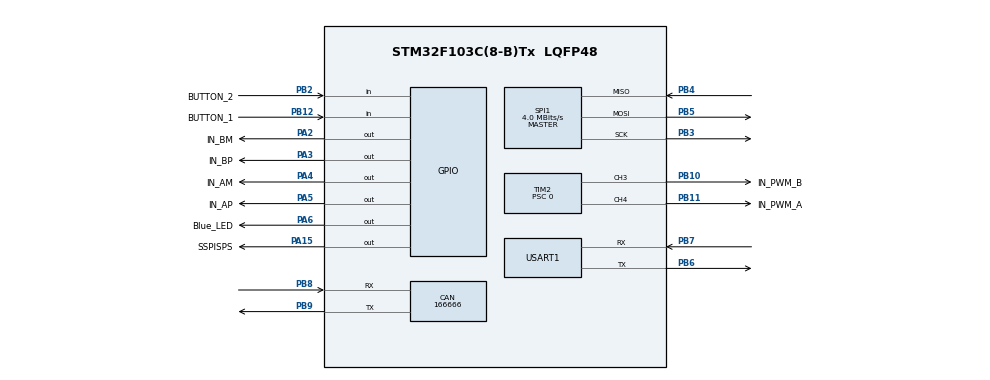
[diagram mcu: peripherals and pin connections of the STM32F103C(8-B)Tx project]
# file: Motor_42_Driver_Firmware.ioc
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CAN.CalculateBaudRate=166666
CAN.CalculateTimeBit=6000
CAN.CalculateTimeQuantum=2000.0
Mcu.Family=STM32F1
Mcu.Name=STM32F103C(8-B)Tx
Mcu.Package=LQFP48
NVIC.PriorityGroup=NVIC_PRIORITYGROUP_4
PA13.Mode=Serial_Wire
PA13.Signal=SYS_JTMS-SWDIO
PA14.Mode=Serial_Wire
PA14.Signal=SYS_JTCK-SWCLK
PA15.GPIO_Label=SSPISPS
PA15.Signal=GPIO_Output
PA2.GPIO_Label=IN_BM
PA2.GPIO_Speed=GPIO_SPEED_FREQ_HIGH
PA2.PinState=GPIO_PIN_SET
PA2.Signal=GPIO_Output
PA3.GPIO_Label=IN_BP
PA3.GPIO_Speed=GPIO_SPEED_FREQ_HIGH
PA3.PinState=GPIO_PIN_SET
PA3.Signal=GPIO_Output
PA4.GPIO_Label=IN_AM
PA4.GPIO_Speed=GPIO_SPEED_FREQ_HIGH
PA4.PinState=GPIO_PIN_SET
PA4.Signal=GPIO_Output
PA5.GPIO_Label=IN_AP
PA5.GPIO_Speed=GPIO_SPEED_FREQ_HIGH
PA5.PinState=GPIO_PIN_SET
PA5.Signal=GPIO_Output
PA6.GPIO_Label=Blue_LED
PA6.Signal=GPIO_Output
PB10.GPIO_Label=IN_PWM_B
PB10.GPIO_Speed=GPIO_SPEED_FREQ_HIGH
PB10.Signal=S_TIM2_CH3
PB11.GPIO_Label=IN_PWM_A
PB11.GPIO_Speed=GPIO_SPEED_FREQ_HIGH
PB11.Signal=S_TIM2_CH4
PB12.GPIO_Label=BUTTON_1
PB12.Signal=GPIO_Input
PB2.GPIO_Label=BUTTON_2
PB2.Signal=GPIO_Input
PB3.Mode=Full_Duplex_Master
PB3.Signal=SPI1_SCK
PB4.Mode=Full_Duplex_Master
PB4.Signal=SPI1_MISO
PB5.Mode=Full_Duplex_Master
PB5.Signal=SPI1_MOSI
PB6.Mode=Asynchronous
PB6.Signal=USART1_TX
PB7.Mode=Asynchronous
PB7.Signal=USART1_RX
PB8.Mode=CAN_Activate
PB8.Signal=CAN_RX
PB9.Mode=CAN_Activate
PB9.Signal=CAN_TX
ProjectManager.HeapSize=0x200
ProjectManager.StackSize=0x400
ProjectManager.TargetToolchain=STM32CubeIDE
RCC.APB1Freq_Value=8000000
RCC.APB2Freq_Value=8000000
SH.S_TIM2_CH3.0=TIM2_CH3,PWM Generation3 CH3
SH.S_TIM2_CH4.0=TIM2_CH4,PWM Generation4 CH4
SPI1.CalculateBaudRate=4.0 MBits/s
SPI1.Direction=SPI_DIRECTION_2LINES
SPI1.Mode=SPI_MODE_MASTER
SPI1.VirtualType=VM_MASTER
TIM2.AutoReloadPreload=TIM_AUTORELOAD_PRELOAD_DISABLE
TIM2.Channel-PWM\ Generation3\ CH3=TIM_CHANNEL_3
TIM2.Channel-PWM\ Generation4\ CH4=TIM_CHANNEL_4
TIM2.OC3Preload_PWM=ENABLE
TIM2.OC4Preload_PWM=ENABLE
TIM2.OCFastMode_PWM-PWM\ Generation3\ CH3=TIM_OCFAST_DISABLE
TIM2.OCFastMode_PWM-PWM\ Generation4\ CH4=TIM_OCFAST_DISABLE
TIM2.OCPolarity_3=TIM_OCPOLARITY_HIGH
TIM2.OCPolarity_4=TIM_OCPOLARITY_HIGH
TIM2.Period=1023
TIM2.Prescaler=0
USART1.VirtualMode=VM_ASYNC
VP_TIM2_VS_ClockSourceINT.Mode=Internal
board=custom

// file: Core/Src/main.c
/* USER CODE BEGIN Header */
/**
  ******************************************************************************
  * @file           : main.c
  * @brief          : Main program body
  ******************************************************************************
  * @attention
  *
  * Copyright (c) 2022 STMicroelectronics.
  * All rights reserved.
  *
  * This software is licensed under terms that can be found in the LICENSE file
  * in the root directory of this software component.
  * If no LICENSE file comes with this software, it is provided AS-IS.
  *
  ******************************************************************************
  */
/* USER CODE END Header */
#include "main.h"

/* USER CODE BEGIN Includes */
#include "sin_map.h"
/* USER CODE END Includes */

CAN_HandleTypeDef hcan;

SPI_HandleTypeDef hspi1;

TIM_HandleTypeDef htim2;

UART_HandleTypeDef huart1;

void SystemClock_Config(void);
static void MX_GPIO_Init(void);
static void MX_CAN_Init(void);
static void MX_SPI1_Init(void);
static void MX_USART1_UART_Init(void);
static void MX_TIM2_Init(void);
/* USER CODE BEGIN PFP */
int16_t Mod(int32_t xMod,int16_t mMod);
void Output(int32_t theta,uint8_t effort);
void UsDelay(uint16_t us);
void OneStep(void);
void CalibrateEncoder(void);
void MotorTurn_FW(void);
/* USER CODE END PFP */

/* USER CODE BEGIN 0 */
uint8_t dir=1;//电机旋转方向
int32_t stepnumber=0;//电机走的整步步数
/* USER CODE END 0 */

int main(void)
{

  /* MCU Configuration--------------------------------------------------------*/

  /* Reset of all peripherals, Initializes the Flash interface and the Systick. */
  HAL_Init();

  /* Configure the system clock */
  SystemClock_Config();

  /* Initialize all configured peripherals */
  MX_GPIO_Init();
  MX_CAN_Init();
  MX_SPI1_Init();
  MX_USART1_UART_Init();
  MX_TIM2_Init();

  /* Infinite loop */
  /* USER CODE BEGIN WHILE */
//  OneStep();
  while (1)
  {
    /* USER CODE END WHILE */

    /* USER CODE BEGIN 3 */
	  OneStep();
  }
  /* USER CODE END 3 */
}

void SystemClock_Config(void)
{
  RCC_OscInitTypeDef RCC_OscInitStruct = {0};
  RCC_ClkInitTypeDef RCC_ClkInitStruct = {0};

  /** Initializes the RCC Oscillators according to the specified parameters
  * in the RCC_OscInitTypeDef structure.
  */
  RCC_OscInitStruct.OscillatorType = RCC_OSCILLATORTYPE_HSI;
  RCC_OscInitStruct.HSIState = RCC_HSI_ON;
  RCC_OscInitStruct.HSICalibrationValue = RCC_HSICALIBRATION_DEFAULT;
  RCC_OscInitStruct.PLL.PLLState = RCC_PLL_NONE;
  if (HAL_RCC_OscConfig(&RCC_OscInitStruct) != HAL_OK)
  {
    Error_Handler();
  }
  /** Initializes the CPU, AHB and APB buses clocks
  */
  RCC_ClkInitStruct.ClockType = RCC_CLOCKTYPE_HCLK|RCC_CLOCKTYPE_SYSCLK
                              |RCC_CLOCKTYPE_PCLK1|RCC_CLOCKTYPE_PCLK2;
  RCC_ClkInitStruct.SYSCLKSource = RCC_SYSCLKSOURCE_HSI;
  RCC_ClkInitStruct.AHBCLKDivider = RCC_SYSCLK_DIV1;
  RCC_ClkInitStruct.APB1CLKDivider = RCC_HCLK_DIV1;
  RCC_ClkInitStruct.APB2CLKDivider = RCC_HCLK_DIV1;

  if (HAL_RCC_ClockConfig(&RCC_ClkInitStruct, FLASH_LATENCY_0) != HAL_OK)
  {
    Error_Handler();
  }
}

static void MX_CAN_Init(void)
{

  hcan.Instance = CAN1;
  hcan.Init.Prescaler = 16;
  hcan.Init.Mode = CAN_MODE_NORMAL;
  hcan.Init.SyncJumpWidth = CAN_SJW_1TQ;
  hcan.Init.TimeSeg1 = CAN_BS1_1TQ;
  hcan.Init.TimeSeg2 = CAN_BS2_1TQ;
  hcan.Init.TimeTriggeredMode = DISABLE;
  hcan.Init.AutoBusOff = DISABLE;
  hcan.Init.AutoWakeUp = DISABLE;
  hcan.Init.AutoRetransmission = DISABLE;
  hcan.Init.ReceiveFifoLocked = DISABLE;
  hcan.Init.TransmitFifoPriority = DISABLE;
  if (HAL_CAN_Init(&hcan) != HAL_OK)
  {
    Error_Handler();
  }

}

static void MX_SPI1_Init(void)
{

  /* SPI1 parameter configuration*/
  hspi1.Instance = SPI1;
  hspi1.Init.Mode = SPI_MODE_MASTER;
  hspi1.Init.Direction = SPI_DIRECTION_2LINES;
  hspi1.Init.DataSize = SPI_DATASIZE_8BIT;
  hspi1.Init.CLKPolarity = SPI_POLARITY_LOW;
  hspi1.Init.CLKPhase = SPI_PHASE_1EDGE;
  hspi1.Init.NSS = SPI_NSS_SOFT;
  hspi1.Init.BaudRatePrescaler = SPI_BAUDRATEPRESCALER_2;
  hspi1.Init.FirstBit = SPI_FIRSTBIT_MSB;
  hspi1.Init.TIMode = SPI_TIMODE_DISABLE;
  hspi1.Init.CRCCalculation = SPI_CRCCALCULATION_DISABLE;
  hspi1.Init.CRCPolynomial = 10;
  if (HAL_SPI_Init(&hspi1) != HAL_OK)
  {
    Error_Handler();
  }

}

static void MX_TIM2_Init(void)
{

  TIM_ClockConfigTypeDef sClockSourceConfig = {0};
  TIM_MasterConfigTypeDef sMasterConfig = {0};
  TIM_OC_InitTypeDef sConfigOC = {0};

  htim2.Instance = TIM2;
  htim2.Init.Prescaler = 0;
  htim2.Init.CounterMode = TIM_COUNTERMODE_UP;
  htim2.Init.Period = 1023;
  htim2.Init.ClockDivision = TIM_CLOCKDIVISION_DIV1;
  htim2.Init.AutoReloadPreload = TIM_AUTORELOAD_PRELOAD_DISABLE;
  if (HAL_TIM_Base_Init(&htim2) != HAL_OK)
  {
    Error_Handler();
  }
  sClockSourceConfig.ClockSource = TIM_CLOCKSOURCE_INTERNAL;
  if (HAL_TIM_ConfigClockSource(&htim2, &sClockSourceConfig) != HAL_OK)
  {
    Error_Handler();
  }
  if (HAL_TIM_PWM_Init(&htim2) != HAL_OK)
  {
    Error_Handler();
  }
  sMasterConfig.MasterOutputTrigger = TIM_TRGO_RESET;
  sMasterConfig.MasterSlaveMode = TIM_MASTERSLAVEMODE_DISABLE;
  if (HAL_TIMEx_MasterConfigSynchronization(&htim2, &sMasterConfig) != HAL_OK)
  {
    Error_Handler();
  }
  sConfigOC.OCMode = TIM_OCMODE_PWM1;
  sConfigOC.Pulse = 0;
  sConfigOC.OCPolarity = TIM_OCPOLARITY_HIGH;
  sConfigOC.OCFastMode = TIM_OCFAST_DISABLE;
  if (HAL_TIM_PWM_ConfigChannel(&htim2, &sConfigOC, TIM_CHANNEL_3) != HAL_OK)
  {
    Error_Handler();
  }
  if (HAL_TIM_PWM_ConfigChannel(&htim2, &sConfigOC, TIM_CHANNEL_4) != HAL_OK)
  {
    Error_Handler();
  }
  /* USER CODE BEGIN TIM2_Init 2 */
  HAL_TIM_PWM_Start(&htim2, TIM_CHANNEL_3);
  HAL_TIM_PWM_Start(&htim2, TIM_CHANNEL_4);
  /* USER CODE END TIM2_Init 2 */
  HAL_TIM_MspPostInit(&htim2);

}

static void MX_USART1_UART_Init(void)
{

  huart1.Instance = USART1;
  huart1.Init.BaudRate = 115200;
  huart1.Init.WordLength = UART_WORDLENGTH_8B;
  huart1.Init.StopBits = UART_STOPBITS_1;
  huart1.Init.Parity = UART_PARITY_NONE;
  huart1.Init.Mode = UART_MODE_TX_RX;
  huart1.Init.HwFlowCtl = UART_HWCONTROL_NONE;
  huart1.Init.OverSampling = UART_OVERSAMPLING_16;
  if (HAL_UART_Init(&huart1) != HAL_OK)
  {
    Error_Handler();
  }

}

static void MX_GPIO_Init(void)
{
  GPIO_InitTypeDef GPIO_InitStruct = {0};

  /* GPIO Ports Clock Enable */
  __HAL_RCC_GPIOA_CLK_ENABLE();
  __HAL_RCC_GPIOB_CLK_ENABLE();

  /*Configure GPIO pin Output Level */
  HAL_GPIO_WritePin(GPIOA, IN_BM_Pin|IN_BP_Pin|IN_AM_Pin|IN_AP_Pin, GPIO_PIN_SET);

  /*Configure GPIO pin Output Level */
  HAL_GPIO_WritePin(GPIOA, Blue_LED_Pin|SSPISPS_Pin, GPIO_PIN_RESET);

  /*Configure GPIO pins : IN_BM_Pin IN_BP_Pin IN_AM_Pin IN_AP_Pin */
  GPIO_InitStruct.Pin = IN_BM_Pin|IN_BP_Pin|IN_AM_Pin|IN_AP_Pin;
  GPIO_InitStruct.Mode = GPIO_MODE_OUTPUT_PP;
  GPIO_InitStruct.Pull = GPIO_NOPULL;
  GPIO_InitStruct.Speed = GPIO_SPEED_FREQ_HIGH;
  HAL_GPIO_Init(GPIOA, &GPIO_InitStruct);

  /*Configure GPIO pins : Blue_LED_Pin SSPISPS_Pin */
  GPIO_InitStruct.Pin = Blue_LED_Pin|SSPISPS_Pin;
  GPIO_InitStruct.Mode = GPIO_MODE_OUTPUT_PP;
  GPIO_InitStruct.Pull = GPIO_NOPULL;
  GPIO_InitStruct.Speed = GPIO_SPEED_FREQ_LOW;
  HAL_GPIO_Init(GPIOA, &GPIO_InitStruct);

  /*Configure GPIO pins : BUTTON_2_Pin BUTTON_1_Pin */
  GPIO_InitStruct.Pin = BUTTON_2_Pin|BUTTON_1_Pin;
  GPIO_InitStruct.Mode = GPIO_MODE_INPUT;
  GPIO_InitStruct.Pull = GPIO_NOPULL;
  HAL_GPIO_Init(GPIOB, &GPIO_InitStruct);

}

/* USER CODE BEGIN 4 */
int16_t Mod(int32_t xMod,int16_t mMod)
{
  int16_t temp;
  temp=xMod%mMod;
  if(temp<0)
    return (temp+mMod);
  else
	return  temp;
}

void Output(int32_t theta,uint8_t effort)
{
	int16_t v_coil_A;
	int16_t v_coil_B;

	int16_t sin_coil_A;
	int16_t sin_coil_B;

	int16_t angle_1;
	int16_t angle_2;

	float phase_multiplier=1.25f;//电机跑一圈共50个电相位�???????????????/4

	angle_1=Mod(phase_multiplier*theta,4096);//编码器读出的机械角转换为电相位角
	angle_2=angle_1+1024;
	if(angle_2>4096)
	angle_2-=4096;

	sin_coil_A=sin_map[angle_1];
	sin_coil_B=sin_map[angle_2];

	v_coil_A=effort*sin_coil_A/1024;//电机A相的矢量分解电流
	v_coil_B=effort*sin_coil_B/1024;//电机B相的矢量分解电流

	if(v_coil_A>=0)
	{
		__HAL_TIM_SET_COMPARE(&htim2, TIM_CHANNEL_4, v_coil_A );
		IN1_HIGH;
		IN2_LOW;
	}
	else
	{
		__HAL_TIM_SET_COMPARE(&htim2, TIM_CHANNEL_4, -v_coil_A );
		IN1_LOW;
		IN2_HIGH;
	}
	if(v_coil_B>=0)
	{
		__HAL_TIM_SET_COMPARE(&htim2, TIM_CHANNEL_3, v_coil_B );
		IN3_HIGH;
		IN4_LOW;
	}
	else
	{
		__HAL_TIM_SET_COMPARE(&htim2, TIM_CHANNEL_3, -v_coil_B );
		IN3_LOW;
		IN4_HIGH;
	}
}

void UsDelay(uint16_t us)
{
  us*=10;
  while(us)
  {
    __NOP();
	__NOP();
	us--;
  }
}
void OneStep(void)
{
//  if(dir)
    stepnumber+=1;
//  else
//    stepnumber-=1;
	uint8_t effort = 50;
	Output(120*stepnumber,effort);//如果校正时电机太大把80的设置电机加�???????????????120左右或�?�更大些
	HAL_Delay(10);
}

void MotorTurn_Stop(void)
{
	IN1_HIGH;IN2_HIGH;IN3_HIGH;IN4_HIGH;
}
void CalibrateEncoder(void)
{
  dir=1;
//  Output(0,80);//�????????????始时固定在整步位置，如果校正时电机太大把80的设置电机加�????????????120左右或�?�更大些

  for(int16_t x=0;x<=199;x++)//逆时针跑�????????????圈记下各整步位的�????????????
  {
    OneStep();
  }
//  dir=0;
//  OneStep();
//  for(int16_t x=199;x>=0;x--)//顺时针跑�????????????圈记下各整步位的值和之前逆时针保存的值求平均
//  {
//    OneStep();
//  }

}
/* USER CODE END 4 */

void Error_Handler(void)
{
  __disable_irq();
  while (1)
  {
  }
}
